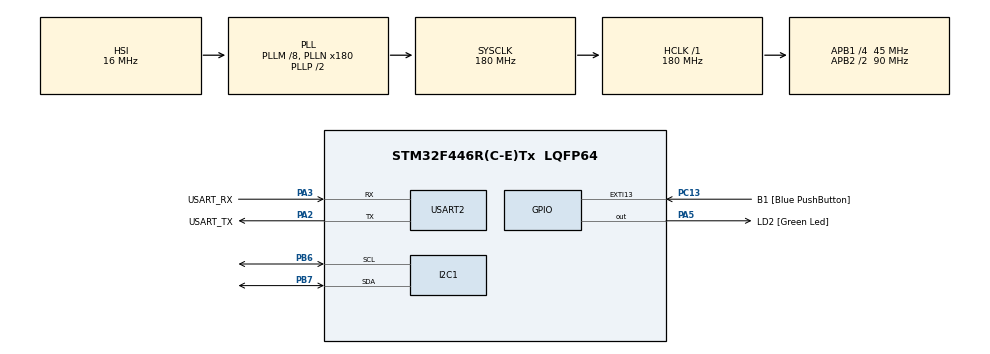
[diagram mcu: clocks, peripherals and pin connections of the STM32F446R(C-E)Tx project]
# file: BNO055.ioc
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Mcu.Family=STM32F4
Mcu.Name=STM32F446R(C-E)Tx
Mcu.Package=LQFP64
NVIC.PriorityGroup=NVIC_PRIORITYGROUP_0
PA13.GPIO_Label=TMS
PA13.Mode=Trace_Asynchronous_SW
PA13.Signal=SYS_JTMS-SWDIO
PA14.GPIO_Label=TCK
PA14.Mode=Trace_Asynchronous_SW
PA14.Signal=SYS_JTCK-SWCLK
PA2.GPIO_Label=USART_TX
PA2.Mode=Asynchronous
PA2.Signal=USART2_TX
PA3.GPIO_Label=USART_RX
PA3.Mode=Asynchronous
PA3.Signal=USART2_RX
PA5.GPIO_Label=LD2 [Green Led]
PA5.Signal=GPIO_Output
PB3.GPIO_Label=SWO
PB3.Mode=Trace_Asynchronous_SW
PB3.Signal=SYS_JTDO-SWO
PB6.Mode=I2C
PB6.Signal=I2C1_SCL
PB7.Mode=I2C
PB7.Signal=I2C1_SDA
PC13.GPIO_Label=B1 [Blue PushButton]
PC13.GPIO_ModeDefaultEXTI=GPIO_MODE_IT_FALLING
PC13.Signal=GPXTI13
PC14-OSC32_IN.Mode=LSE-External-Oscillator
PC14-OSC32_IN.Signal=RCC_OSC32_IN
PC15-OSC32_OUT.Mode=LSE-External-Oscillator
PC15-OSC32_OUT.Signal=RCC_OSC32_OUT
PH0-OSC_IN.Mode=HSE-External-Oscillator
PH0-OSC_IN.Signal=RCC_OSC_IN
PH1-OSC_OUT.Mode=HSE-External-Oscillator
PH1-OSC_OUT.Signal=RCC_OSC_OUT
ProjectManager.HeapSize=0x200
ProjectManager.StackSize=0x400
ProjectManager.TargetToolchain=STM32CubeIDE
RCC.48MHZClocksFreq_Value=84000000
RCC.AHBFreq_Value=180000000
RCC.APB1CLKDivider=RCC_HCLK_DIV4
RCC.APB1Freq_Value=45000000
RCC.APB1TimFreq_Value=90000000
RCC.APB2CLKDivider=RCC_HCLK_DIV2
RCC.APB2Freq_Value=90000000
RCC.APB2TimFreq_Value=180000000
RCC.CortexFreq_Value=180000000
RCC.FLatency-AdvancedSettings=FLASH_LATENCY_5
RCC.HCLKFreq_Value=180000000
RCC.HSE_VALUE=8000000
RCC.HSI_VALUE=16000000
RCC.PLLM=8
RCC.PLLN=180
RCC.SYSCLKFreq_VALUE=180000000
RCC.SYSCLKSource=RCC_SYSCLKSOURCE_PLLCLK
RCC.USBFreq_Value=180000000
RCC.VCOOutputFreq_Value=360000000
USART2.VirtualMode=VM_ASYNC
board=NUCLEO-F446RE

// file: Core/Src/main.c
/* USER CODE BEGIN Header */
/**
 ******************************************************************************
 * @file           : main.c
 * @brief          : Main program body
 ******************************************************************************
 * @attention
 *
 * Copyright (c) 2026 STMicroelectronics.
 * All rights reserved.
 *
 * This software is licensed under terms that can be found in the LICENSE file
 * in the root directory of this software component.
 * If no LICENSE file comes with this software, it is provided AS-IS.
 *
 ******************************************************************************
 */
/* USER CODE END Header */
#include "main.h"

/* USER CODE BEGIN Includes */
#include "bno055_stm32.h"
#include <stdio.h>
/* USER CODE END Includes */

I2C_HandleTypeDef hi2c1;

UART_HandleTypeDef huart2;

/* USER CODE BEGIN PV */
bno055_vector_t v; // Create an instance of the BNO055 sensor structure
int8_t temperature; // Variable to hold the temperature reading

bno055_calibration_data_t savedCalData = {
		.offset.accel = { .x = -7, .y = 6, .z =-33 },
		.offset.mag = { .x = -76, .y = -423, .z = -216 },
		.offset.gyro = { .x = -2, .y = -3, .z = -1 },
		.radius.accel = 1000,
		.radius.mag = 1484
};
/* USER CODE END PV */

void SystemClock_Config(void);
static void MX_GPIO_Init(void);
static void MX_USART2_UART_Init(void);
static void MX_I2C1_Init(void);

int main(void) {

	/* MCU Configuration--------------------------------------------------------*/

	/* Reset of all peripherals, Initializes the Flash interface and the Systick. */
	HAL_Init();

	/* Configure the system clock */
	SystemClock_Config();

	/* Initialize all configured peripherals */
	MX_GPIO_Init();
	MX_USART2_UART_Init();
	MX_I2C1_Init();
	/* USER CODE BEGIN 2 */
	bno055_assignI2C(&hi2c1); // Assign the I2C handle to the BNO055 library
	bno055_setup();
	bno055_setOperationMode(BNO055_OPERATION_MODE_NDOF);
	bno055_setCalibrationData(savedCalData);

//	bno055_printUnits();
	HAL_Delay(1000);

//	bno055_runCalibration();

	/* USER CODE END 2 */

	/* Infinite loop */
	while (1) {

		/* USER CODE BEGIN 3 */
		v = bno055_getVectorEuler();
		printf("Euler: Heading=%0.2f, Roll=%0.2f, Pitch=%0.2f\r\n", v.x, v.y, v.z);
		v = bno055_getVectorAccelerometer();
		printf("Accel: X=%0.2f m/s^2, Y=%0.2f m/s^2, Z=%0.2f m/s^2\r\n", v.x, v.y, v.z);
		v = bno055_getVectorGyroscope();
		printf("Gyro: X=%0.2f dps, Y=%0.2f dps, Z=%0.2f dps\r\n", v.x, v.y, v.z);
		v = bno055_getVectorMagnetometer();
		printf("Mag: X=%0.2f uT, Y=%0.2f uT, Z=%0.2f uT\r\n", v.x, v.y, v.z);
		temperature = bno055_getTemp();
		printf("Temperature: %d C\r\n", temperature);
		printf("\r\n");
		HAL_Delay(1000);
	}
	/* USER CODE END 3 */
}

void SystemClock_Config(void) {
	RCC_OscInitTypeDef RCC_OscInitStruct = { 0 };
	RCC_ClkInitTypeDef RCC_ClkInitStruct = { 0 };

	/** Configure the main internal regulator output voltage
	 */
	__HAL_RCC_PWR_CLK_ENABLE();
	__HAL_PWR_VOLTAGESCALING_CONFIG(PWR_REGULATOR_VOLTAGE_SCALE1);

	/** Initializes the RCC Oscillators according to the specified parameters
	 * in the RCC_OscInitTypeDef structure.
	 */
	RCC_OscInitStruct.OscillatorType = RCC_OSCILLATORTYPE_HSI;
	RCC_OscInitStruct.HSIState = RCC_HSI_ON;
	RCC_OscInitStruct.HSICalibrationValue = RCC_HSICALIBRATION_DEFAULT;
	RCC_OscInitStruct.PLL.PLLState = RCC_PLL_ON;
	RCC_OscInitStruct.PLL.PLLSource = RCC_PLLSOURCE_HSI;
	RCC_OscInitStruct.PLL.PLLM = 8;
	RCC_OscInitStruct.PLL.PLLN = 180;
	RCC_OscInitStruct.PLL.PLLP = RCC_PLLP_DIV2;
	RCC_OscInitStruct.PLL.PLLQ = 2;
	RCC_OscInitStruct.PLL.PLLR = 2;
	if (HAL_RCC_OscConfig(&RCC_OscInitStruct) != HAL_OK) {
		Error_Handler();
	}

	/** Activate the Over-Drive mode
	 */
	if (HAL_PWREx_EnableOverDrive() != HAL_OK) {
		Error_Handler();
	}

	/** Initializes the CPU, AHB and APB buses clocks
	 */
	RCC_ClkInitStruct.ClockType = RCC_CLOCKTYPE_HCLK | RCC_CLOCKTYPE_SYSCLK
			| RCC_CLOCKTYPE_PCLK1 | RCC_CLOCKTYPE_PCLK2;
	RCC_ClkInitStruct.SYSCLKSource = RCC_SYSCLKSOURCE_PLLCLK;
	RCC_ClkInitStruct.AHBCLKDivider = RCC_SYSCLK_DIV1;
	RCC_ClkInitStruct.APB1CLKDivider = RCC_HCLK_DIV4;
	RCC_ClkInitStruct.APB2CLKDivider = RCC_HCLK_DIV2;

	if (HAL_RCC_ClockConfig(&RCC_ClkInitStruct, FLASH_LATENCY_5) != HAL_OK) {
		Error_Handler();
	}
}

static void MX_I2C1_Init(void) {

	hi2c1.Instance = I2C1;
	hi2c1.Init.ClockSpeed = 100000;
	hi2c1.Init.DutyCycle = I2C_DUTYCYCLE_2;
	hi2c1.Init.OwnAddress1 = 0;
	hi2c1.Init.AddressingMode = I2C_ADDRESSINGMODE_7BIT;
	hi2c1.Init.DualAddressMode = I2C_DUALADDRESS_DISABLE;
	hi2c1.Init.OwnAddress2 = 0;
	hi2c1.Init.GeneralCallMode = I2C_GENERALCALL_DISABLE;
	hi2c1.Init.NoStretchMode = I2C_NOSTRETCH_DISABLE;
	if (HAL_I2C_Init(&hi2c1) != HAL_OK) {
		Error_Handler();
	}

}

static void MX_USART2_UART_Init(void) {

	huart2.Instance = USART2;
	huart2.Init.BaudRate = 115200;
	huart2.Init.WordLength = UART_WORDLENGTH_8B;
	huart2.Init.StopBits = UART_STOPBITS_1;
	huart2.Init.Parity = UART_PARITY_NONE;
	huart2.Init.Mode = UART_MODE_TX_RX;
	huart2.Init.HwFlowCtl = UART_HWCONTROL_NONE;
	huart2.Init.OverSampling = UART_OVERSAMPLING_16;
	if (HAL_UART_Init(&huart2) != HAL_OK) {
		Error_Handler();
	}

}

static void MX_GPIO_Init(void) {
	GPIO_InitTypeDef GPIO_InitStruct = { 0 };

	/* GPIO Ports Clock Enable */
	__HAL_RCC_GPIOC_CLK_ENABLE();
	__HAL_RCC_GPIOH_CLK_ENABLE();
	__HAL_RCC_GPIOA_CLK_ENABLE();
	__HAL_RCC_GPIOB_CLK_ENABLE();

	/*Configure GPIO pin Output Level */
	HAL_GPIO_WritePin(LD2_GPIO_Port, LD2_Pin, GPIO_PIN_RESET);

	/*Configure GPIO pin : B1_Pin */
	GPIO_InitStruct.Pin = B1_Pin;
	GPIO_InitStruct.Mode = GPIO_MODE_IT_FALLING;
	GPIO_InitStruct.Pull = GPIO_NOPULL;
	HAL_GPIO_Init(B1_GPIO_Port, &GPIO_InitStruct);

	/*Configure GPIO pin : LD2_Pin */
	GPIO_InitStruct.Pin = LD2_Pin;
	GPIO_InitStruct.Mode = GPIO_MODE_OUTPUT_PP;
	GPIO_InitStruct.Pull = GPIO_NOPULL;
	GPIO_InitStruct.Speed = GPIO_SPEED_FREQ_LOW;
	HAL_GPIO_Init(LD2_GPIO_Port, &GPIO_InitStruct);

}

/* USER CODE BEGIN 4 */
int __io_putchar(int ch) {
//	HAL_UART_Transmit(&huart2, (uint8_t*) &ch, 1, HAL_MAX_DELAY); // Transmit the character over UART
	ITM_SendChar(ch); // Send the character to the SWO console (for debugging)
	return ch;
}
/* USER CODE END 4 */

void Error_Handler(void) {
	__disable_irq();
	while (1) {
	}
}
